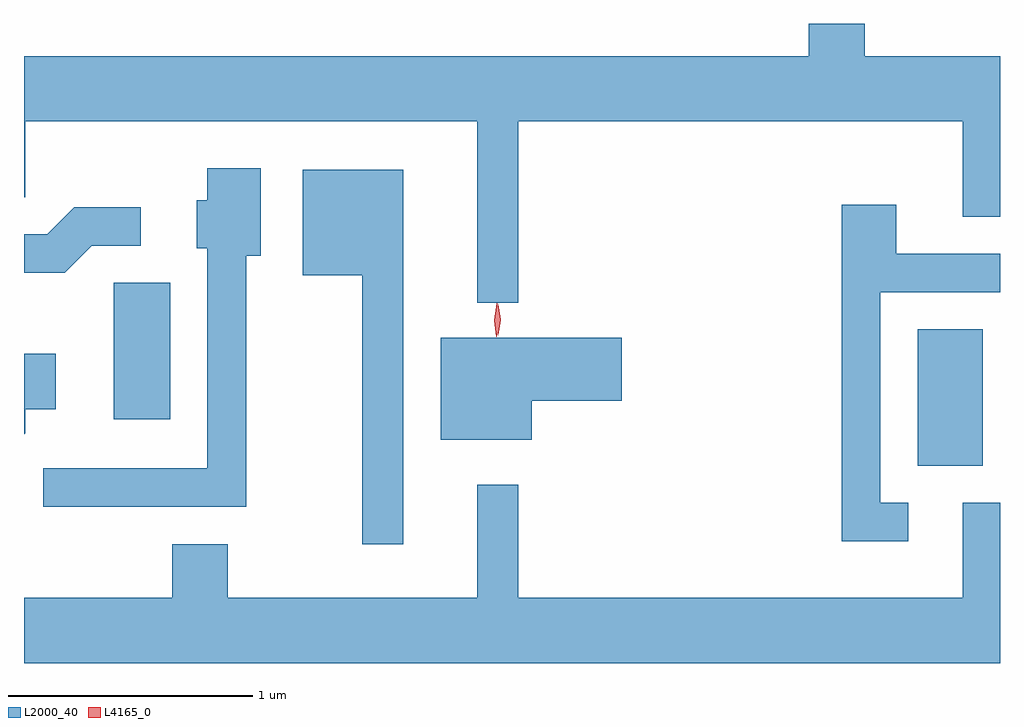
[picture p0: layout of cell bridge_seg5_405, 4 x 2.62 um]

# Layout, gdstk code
import gdstk
lib = gdstk.Library(unit=1e-6, precision=1e-09)
def R(c, l, rs):  # rectangles x0, y0, x1, y1
    for r in rs: c.add(gdstk.rectangle(r[:2], r[2:], *l))
def P(c, l, *ps):  # polygons
    for p in ps: c.add(gdstk.Polygon(p, *l))
L2000_40 = (2000, 40)
L4165_0 = (4165, 0)

bridge_seg5_405 = lib.new_cell('bridge_seg5_405')
R(bridge_seg5_405, L2000_40, [(263.696,1517.546,263.964,1518.104), (260.401,1517.736,260.634,1518.294)])
P(bridge_seg5_405, L2000_40, [(262.059,1518.956),(263.881,1518.956),(263.881,1518.566),(264.034,1518.566),(264.034,1519.224),(263.479,1519.224),(263.479,1519.356),(263.251,1519.356),(263.251,1519.224),(260.034,1519.224),(260.034,1518.646),(260.039,1518.646),(260.039,1518.956),(261.891,1518.956),(261.891,1518.213),(262.059,1518.213)],
  [(260.944,1518.406),(261.004,1518.406),(261.004,1518.764),(260.786,1518.764),(260.786,1518.634),(260.741,1518.634),(260.741,1518.436),(260.786,1518.436),(260.786,1517.534),(260.113,1517.534),(260.113,1517.376),(260.944,1517.376)],
  [(261.589,1518.759),(261.176,1518.759),(261.176,1518.326),(261.421,1518.326),(261.421,1517.223),(261.589,1517.223)],
  [(263.658,1517.394),(263.544,1517.394),(263.544,1518.256),(264.034,1518.256),(264.034,1518.414),(263.609,1518.414),(263.609,1518.614),(263.386,1518.614),(263.386,1517.236),(263.658,1517.236)],
  [(260.312,1518.446),(260.513,1518.446),(260.513,1518.604),(260.239,1518.604),(260.129,1518.494),(260.034,1518.494),(260.034,1518.336),(260.202,1518.336)],
  [(262.114,1517.811),(262.484,1517.811),(262.484,1518.069),(261.741,1518.069),(261.741,1517.651),(262.114,1517.651)],
  [(260.039,1517.679),(260.039,1517.776),(260.164,1517.776),(260.164,1518.004),(260.034,1518.004),(260.034,1517.674)],
  [(264.034,1517.394),(263.881,1517.394),(263.881,1517.004),(262.059,1517.004),(262.059,1517.468),(261.891,1517.468),(261.891,1517.004),(260.869,1517.004),(260.869,1517.224),(260.641,1517.224),(260.641,1517.004),(260.034,1517.004),(260.034,1516.736),(264.034,1516.736)])
P(bridge_seg5_405, L4165_0, [(261.977,1518.08),(261.968,1518.144),(261.977,1518.206),(261.978,1518.207),(261.978,1518.206),(261.988,1518.144),(261.978,1518.08),(261.978,1518.08)],
  [(261.97,1518.074),(261.962,1518.142),(261.972,1518.21),(261.972,1518.21),(261.973,1518.21),(261.982,1518.142),(261.971,1518.074),(261.971,1518.074)])

lib.write_gds('bridge_seg5_405.gds')
